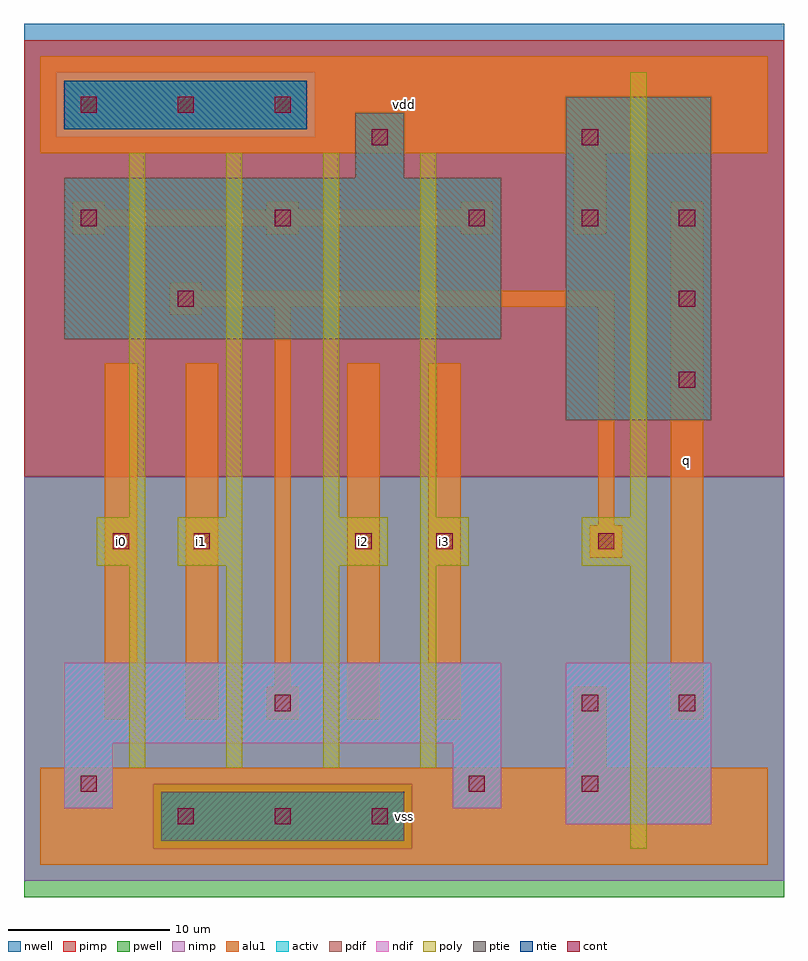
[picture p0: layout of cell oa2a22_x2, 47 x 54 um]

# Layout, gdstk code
import gdstk
lib = gdstk.Library(unit=1e-6, precision=1e-09)
def R(c, l, rs):  # rectangles x0, y0, x1, y1
    for r in rs: c.add(gdstk.rectangle(r[:2], r[2:], *l))
def A(c, l, x, y, w, h, nx, ny, dx, dy):  # array of equal rectangles
    R(c, l, [(x+i*dx, y+j*dy, x+i*dx+w, y+j*dy+h) for i in range(nx) for j in range(ny)])
ndif = (3, 0)
pdif = (4, 0)
ntie = (5, 0)
ptie = (6, 0)
cont = (25, 0)
pwell = (41, 0)
nwell = (42, 0)
activ = (43, 0)
pimp = (44, 0)
nimp = (45, 0)
poly = (46, 0)
alu1 = (49, 0)

oa2a22_x2 = lib.new_cell('oa2a22_x2')
R(oa2a22_x2, ndif, [(32.5,2.5,41.5,12.5), (1.5,3.5,4.5,7.5), (25.5,3.5,28.5,7.5), (1.5,7.5,28.5,12.5)])
R(oa2a22_x2, pdif, [(32.5,27.5,41.5,47.5), (1.5,32.5,28.5,42.5), (19.5,42.5,22.5,46.5)])
R(oa2a22_x2, ntie, [(1.5,45.5,16.5,48.5)])
R(oa2a22_x2, ptie, [(7.5,1.5,22.5,4.5)])
A(oa2a22_x2, cont, 8.5, 2.5, 1, 1, 3, 1, 6, 0)
A(oa2a22_x2, cont, 39.5, 29.5, 1, 1, 1, 3, 0, 5)
A(oa2a22_x2, cont, 2.5, 39.5, 1, 1, 3, 1, 12, 0)
A(oa2a22_x2, cont, 2.5, 46.5, 1, 1, 3, 1, 6, 0)
R(oa2a22_x2, cont, [(2.5,4.5,3.5,5.5), (26.5,4.5,27.5,5.5), (33.5,4.5,34.5,5.5), (14.5,9.5,15.5,10.5), (33.5,9.5,34.5,10.5), (39.5,9.5,40.5,10.5), (4.5,19.5,5.5,20.5), (9.5,19.5,10.5,20.5), (19.5,19.5,20.5,20.5), (24.5,19.5,25.5,20.5), (34.5,19.5,35.5,20.5), (8.5,34.5,9.5,35.5), (33.5,39.5,34.5,40.5), (20.5,44.5,21.5,45.5), (33.5,44.5,34.5,45.5)])
R(oa2a22_x2, pwell, [(-1,-2,46,24)])
R(oa2a22_x2, nwell, [(-1,24,46,52)])
R(oa2a22_x2, activ, [(7.5,1.5,22.5,4.5), (32.5,2.5,41.5,12.5), (1.5,3.5,4.5,7.5), (25.5,3.5,28.5,7.5), (1.5,7.5,28.5,12.5), (32.5,27.5,41.5,47.5), (1.5,32.5,28.5,42.5), (19.5,42.5,22.5,46.5), (1.5,45.5,16.5,48.5)])
R(oa2a22_x2, pimp, [(7,1,23,5), (-1,24,46,45), (-1,45,1,49), (17,45,46,49), (-1,49,46,51)])
R(oa2a22_x2, nimp, [(-1,-1,46,1), (-1,1,7,5), (23,1,46,5), (-1,5,46,24), (1,45,17,49)])
A(oa2a22_x2, poly, 5.5, 6, 1, 12.5, 4, 1, 6, 0)
A(oa2a22_x2, poly, 5.5, 21.5, 1, 22.5, 4, 1, 6, 0)
R(oa2a22_x2, poly, [(36.5,1,37.5,18.5), (3.5,18.5,6.5,21.5), (8.5,18.5,12.5,21.5), (17.5,18.5,21.5,21.5), (23.5,18.5,26.5,21.5), (33.5,18.5,37.5,21.5), (36.5,21.5,37.5,49)])
A(oa2a22_x2, alu1, 2, 39, 2, 0.5, 3, 2, 12, 1.5)
R(oa2a22_x2, alu1, [(0,0,45,6), (33,6,35,11), (4,9,6,31), (9,9,11,31), (14,9,16,11), (19,9,21,31), (24,9,26,31), (39,9,41,41), (14.5,11,15.5,34.5), (34,19,36,21), (34.5,21,35.5,34.5), (8,34,10,34.5), (8,34.5,35.5,35.5), (8,35.5,10,36), (33,39,35,44), (2,39.5,28,40.5), (0,44,45,50)])
oa2a22_x2.add(gdstk.Label('i0', (5,20), layer=49, texttype=0))
oa2a22_x2.add(gdstk.Label('i1', (10,20), layer=49, texttype=0))
oa2a22_x2.add(gdstk.Label('i2', (20,20), layer=49, texttype=0))
oa2a22_x2.add(gdstk.Label('vss', (22.5,3), layer=49, texttype=0))
oa2a22_x2.add(gdstk.Label('i3', (25,20), layer=49, texttype=0))
oa2a22_x2.add(gdstk.Label('vdd', (22.5,47), layer=49, texttype=0))
oa2a22_x2.add(gdstk.Label('q', (40,25), layer=49, texttype=0))

lib.write_gds('oa2a22_x2.gds')
